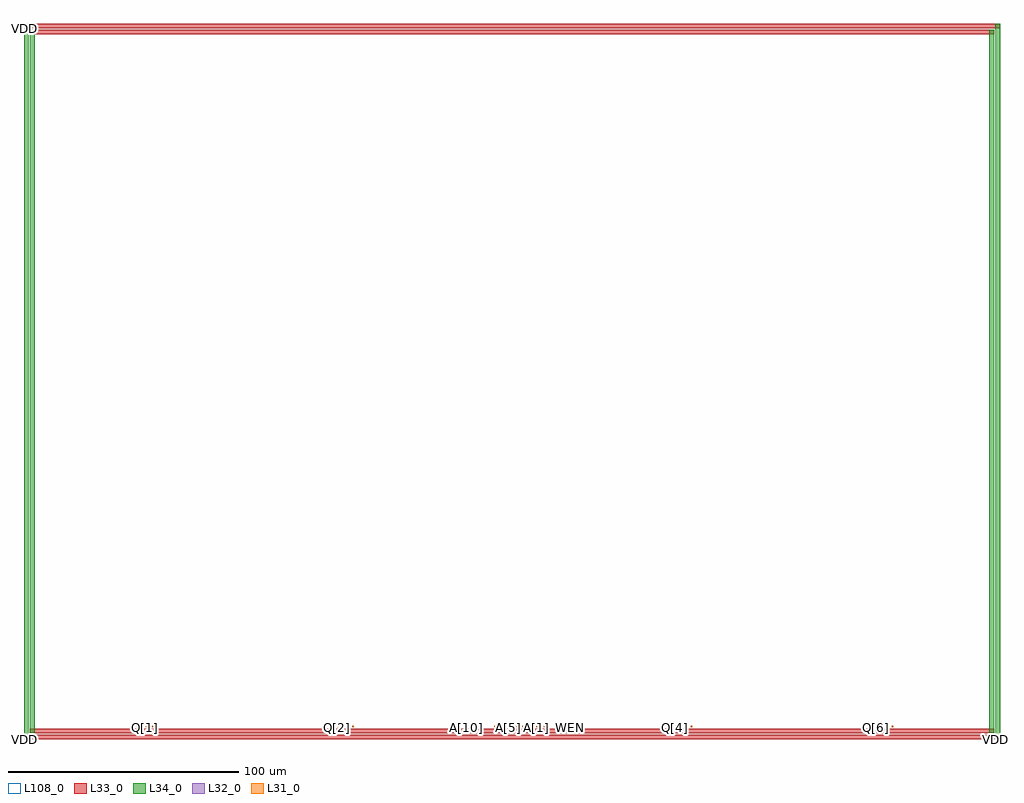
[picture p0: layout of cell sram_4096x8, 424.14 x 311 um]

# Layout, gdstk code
import gdstk
lib = gdstk.Library(unit=1e-6, precision=1e-09)
def R(c, l, rs):  # rectangles x0, y0, x1, y1
    for r in rs: c.add(gdstk.rectangle(r[:2], r[2:], *l))
L31_0 = (31, 0)
L32_0 = (32, 0)
L33_0 = (33, 0)
L34_0 = (34, 0)
L108_0 = (108, 0)

sram_4096x8 = lib.new_cell('sram_4096x8')
R(sram_4096x8, L31_0, [(46.4,5.2,47.06,5.86), (48.98,5.2,49.64,5.86), (52.92,5.2,53.58,5.86), (55.5,5.2,56.16,5.86), (133.64,5.2,134.3,5.86), (136.22,5.2,136.88,5.86), (140.16,5.2,140.82,5.86), (142.74,5.2,143.4,5.86), (185.98,5.2,186.64,5.86), (192.1,5.2,192.76,5.86), (195.2,5.2,195.86,5.86), (198.22,5.2,198.88,5.86), (204.34,5.2,205,5.86), (207.44,5.2,208.1,5.86), (210.46,5.2,211.12,5.86), (213.56,5.2,214.22,5.86), (216.58,5.2,217.24,5.86), (219.68,5.2,220.34,5.86), (222.7,5.2,223.36,5.86), (225.8,5.2,226.46,5.86), (231.615,5.2,232.275,5.86), (237.66,5.2,238.32,5.86), (241.36,5.2,242.02,5.86), (280.745,5.2,281.405,5.86), (283.325,5.2,283.985,5.86), (287.265,5.2,287.925,5.86), (289.845,5.2,290.505,5.86), (367.985,5.2,368.645,5.86), (370.565,5.2,371.225,5.86), (374.505,5.2,375.165,5.86), (377.085,5.2,377.745,5.86)])
R(sram_4096x8, L32_0, [(46.4,5.2,47.06,5.86), (48.98,5.2,49.64,5.86), (52.92,5.2,53.58,5.86), (55.5,5.2,56.16,5.86), (133.64,5.2,134.3,5.86), (136.22,5.2,136.88,5.86), (140.16,5.2,140.82,5.86), (142.74,5.2,143.4,5.86), (185.98,5.2,186.64,5.86), (192.1,5.2,192.76,5.86), (195.2,5.2,195.86,5.86), (198.22,5.2,198.88,5.86), (204.34,5.2,205,5.86), (207.44,5.2,208.1,5.86), (210.46,5.2,211.12,5.86), (213.56,5.2,214.22,5.86), (216.58,5.2,217.24,5.86), (219.68,5.2,220.34,5.86), (222.7,5.2,223.36,5.86), (225.8,5.2,226.46,5.86), (231.615,5.2,232.275,5.86), (237.66,5.2,238.32,5.86), (241.36,5.2,242.02,5.86), (280.745,5.2,281.405,5.86), (283.325,5.2,283.985,5.86), (287.265,5.2,287.925,5.86), (289.845,5.2,290.505,5.86), (367.985,5.2,368.645,5.86), (370.565,5.2,371.225,5.86), (374.505,5.2,375.165,5.86), (377.085,5.2,377.745,5.86)])
R(sram_4096x8, L33_0, [(0,0,424.145,2), (2.6,2.6,421.545,4.6), (46.4,5.2,47.06,5.86), (48.98,5.2,49.64,5.86), (52.92,5.2,53.58,5.86), (55.5,5.2,56.16,5.86), (133.64,5.2,134.3,5.86), (136.22,5.2,136.88,5.86), (140.16,5.2,140.82,5.86), (142.74,5.2,143.4,5.86), (185.98,5.2,186.64,5.86), (192.1,5.2,192.76,5.86), (195.2,5.2,195.86,5.86), (198.22,5.2,198.88,5.86), (204.34,5.2,205,5.86), (207.44,5.2,208.1,5.86), (210.46,5.2,211.12,5.86), (213.56,5.2,214.22,5.86), (216.58,5.2,217.24,5.86), (219.68,5.2,220.34,5.86), (222.7,5.2,223.36,5.86), (225.8,5.2,226.46,5.86), (231.615,5.2,232.275,5.86), (237.66,5.2,238.32,5.86), (241.36,5.2,242.02,5.86), (280.745,5.2,281.405,5.86), (283.325,5.2,283.985,5.86), (287.265,5.2,287.925,5.86), (289.845,5.2,290.505,5.86), (367.985,5.2,368.645,5.86), (370.565,5.2,371.225,5.86), (374.505,5.2,375.165,5.86), (377.085,5.2,377.745,5.86), (2.6,306.395,421.545,308.395), (0,308.995,424.145,310.995)])
R(sram_4096x8, L34_0, [(0,0,2,310.995), (422.145,0,424.145,310.995), (2.6,2.6,4.6,308.395), (419.545,2.6,421.545,308.395), (46.4,5.2,47.06,5.86), (48.98,5.2,49.64,5.86), (52.92,5.2,53.58,5.86), (55.5,5.2,56.16,5.86), (133.64,5.2,134.3,5.86), (136.22,5.2,136.88,5.86), (140.16,5.2,140.82,5.86), (142.74,5.2,143.4,5.86), (185.98,5.2,186.64,5.86), (192.1,5.2,192.76,5.86), (195.2,5.2,195.86,5.86), (198.22,5.2,198.88,5.86), (204.34,5.2,205,5.86), (207.44,5.2,208.1,5.86), (210.46,5.2,211.12,5.86), (213.56,5.2,214.22,5.86), (216.58,5.2,217.24,5.86), (219.68,5.2,220.34,5.86), (222.7,5.2,223.36,5.86), (225.8,5.2,226.46,5.86), (231.615,5.2,232.275,5.86), (237.66,5.2,238.32,5.86), (241.36,5.2,242.02,5.86), (280.745,5.2,281.405,5.86), (283.325,5.2,283.985,5.86), (287.265,5.2,287.925,5.86), (289.845,5.2,290.505,5.86), (367.985,5.2,368.645,5.86), (370.565,5.2,371.225,5.86), (374.505,5.2,375.165,5.86), (377.085,5.2,377.745,5.86)])
R(sram_4096x8, L108_0, [(0,0,424.145,310.995)])
sram_4096x8.add(gdstk.Label('Q[1]', (52.92,5.2), layer=133, texttype=0))
sram_4096x8.add(gdstk.Label('Q[1]', (52.92,5.2), layer=132, texttype=0))
sram_4096x8.add(gdstk.Label('Q[1]', (52.92,5.2), layer=131, texttype=0))
sram_4096x8.add(gdstk.Label('Q[2]', (136.22,5.2), layer=134, texttype=0))
sram_4096x8.add(gdstk.Label('Q[2]', (136.22,5.2), layer=133, texttype=0))
sram_4096x8.add(gdstk.Label('Q[2]', (136.22,5.2), layer=132, texttype=0))
sram_4096x8.add(gdstk.Label('Q[2]', (136.22,5.2), layer=131, texttype=0))
sram_4096x8.add(gdstk.Label('Q[3]', (140.16,5.2), layer=134, texttype=0))
sram_4096x8.add(gdstk.Label('Q[3]', (140.16,5.2), layer=133, texttype=0))
sram_4096x8.add(gdstk.Label('Q[3]', (140.16,5.2), layer=132, texttype=0))
sram_4096x8.add(gdstk.Label('Q[3]', (140.16,5.2), layer=131, texttype=0))
sram_4096x8.add(gdstk.Label('Q[4]', (283.325,5.2), layer=134, texttype=0))
sram_4096x8.add(gdstk.Label('Q[4]', (283.325,5.2), layer=133, texttype=0))
sram_4096x8.add(gdstk.Label('Q[4]', (283.325,5.2), layer=132, texttype=0))
sram_4096x8.add(gdstk.Label('Q[4]', (283.325,5.2), layer=131, texttype=0))
sram_4096x8.add(gdstk.Label('Q[5]', (287.265,5.2), layer=134, texttype=0))
sram_4096x8.add(gdstk.Label('Q[5]', (287.265,5.2), layer=133, texttype=0))
sram_4096x8.add(gdstk.Label('Q[5]', (287.265,5.2), layer=132, texttype=0))
sram_4096x8.add(gdstk.Label('Q[5]', (287.265,5.2), layer=131, texttype=0))
sram_4096x8.add(gdstk.Label('Q[6]', (370.565,5.2), layer=134, texttype=0))
sram_4096x8.add(gdstk.Label('Q[6]', (370.565,5.2), layer=133, texttype=0))
sram_4096x8.add(gdstk.Label('Q[6]', (370.565,5.2), layer=132, texttype=0))
sram_4096x8.add(gdstk.Label('Q[6]', (370.565,5.2), layer=131, texttype=0))
sram_4096x8.add(gdstk.Label('Q[7]', (374.505,5.2), layer=134, texttype=0))
sram_4096x8.add(gdstk.Label('Q[7]', (374.505,5.2), layer=133, texttype=0))
sram_4096x8.add(gdstk.Label('Q[7]', (374.505,5.2), layer=132, texttype=0))
sram_4096x8.add(gdstk.Label('Q[7]', (374.505,5.2), layer=131, texttype=0))
sram_4096x8.add(gdstk.Label('WEN', (237.66,5.2), layer=134, texttype=0))
sram_4096x8.add(gdstk.Label('WEN', (237.66,5.2), layer=133, texttype=0))
sram_4096x8.add(gdstk.Label('WEN', (237.66,5.2), layer=132, texttype=0))
sram_4096x8.add(gdstk.Label('WEN', (237.66,5.2), layer=131, texttype=0))
sram_4096x8.add(gdstk.Label('VDD', (0,0), layer=134, texttype=0))
sram_4096x8.add(gdstk.Label('VDD', (422.145,0), layer=134, texttype=0))
sram_4096x8.add(gdstk.Label('VDD', (0,0), layer=133, texttype=0))
sram_4096x8.add(gdstk.Label('VDD', (0,308.995), layer=133, texttype=0))
sram_4096x8.add(gdstk.Label('VSS', (2.6,2.6), layer=134, texttype=0))
sram_4096x8.add(gdstk.Label('VSS', (419.545,2.6), layer=134, texttype=0))
sram_4096x8.add(gdstk.Label('VSS', (2.6,2.6), layer=133, texttype=0))
sram_4096x8.add(gdstk.Label('VSS', (2.6,306.395), layer=133, texttype=0))
sram_4096x8.add(gdstk.Label('A[0]', (225.8,5.2), layer=134, texttype=0))
sram_4096x8.add(gdstk.Label('A[0]', (225.8,5.2), layer=133, texttype=0))
sram_4096x8.add(gdstk.Label('A[0]', (225.8,5.2), layer=132, texttype=0))
sram_4096x8.add(gdstk.Label('A[0]', (225.8,5.2), layer=131, texttype=0))
sram_4096x8.add(gdstk.Label('A[10]', (192.1,5.2), layer=134, texttype=0))
sram_4096x8.add(gdstk.Label('A[10]', (192.1,5.2), layer=133, texttype=0))
sram_4096x8.add(gdstk.Label('A[10]', (192.1,5.2), layer=132, texttype=0))
sram_4096x8.add(gdstk.Label('A[10]', (192.1,5.2), layer=131, texttype=0))
sram_4096x8.add(gdstk.Label('A[11]', (185.98,5.2), layer=134, texttype=0))
sram_4096x8.add(gdstk.Label('A[11]', (185.98,5.2), layer=133, texttype=0))
sram_4096x8.add(gdstk.Label('A[11]', (185.98,5.2), layer=132, texttype=0))
sram_4096x8.add(gdstk.Label('A[11]', (185.98,5.2), layer=131, texttype=0))
sram_4096x8.add(gdstk.Label('A[1]', (222.7,5.2), layer=134, texttype=0))
sram_4096x8.add(gdstk.Label('A[1]', (222.7,5.2), layer=133, texttype=0))
sram_4096x8.add(gdstk.Label('A[1]', (222.7,5.2), layer=132, texttype=0))
sram_4096x8.add(gdstk.Label('A[1]', (222.7,5.2), layer=131, texttype=0))
sram_4096x8.add(gdstk.Label('A[2]', (219.68,5.2), layer=134, texttype=0))
sram_4096x8.add(gdstk.Label('A[2]', (219.68,5.2), layer=133, texttype=0))
sram_4096x8.add(gdstk.Label('A[2]', (219.68,5.2), layer=132, texttype=0))
sram_4096x8.add(gdstk.Label('A[2]', (219.68,5.2), layer=131, texttype=0))
sram_4096x8.add(gdstk.Label('A[3]', (216.58,5.2), layer=134, texttype=0))
sram_4096x8.add(gdstk.Label('A[3]', (216.58,5.2), layer=133, texttype=0))
sram_4096x8.add(gdstk.Label('A[3]', (216.58,5.2), layer=132, texttype=0))
sram_4096x8.add(gdstk.Label('A[3]', (216.58,5.2), layer=131, texttype=0))
sram_4096x8.add(gdstk.Label('A[4]', (213.56,5.2), layer=134, texttype=0))
sram_4096x8.add(gdstk.Label('A[4]', (213.56,5.2), layer=133, texttype=0))
sram_4096x8.add(gdstk.Label('A[4]', (213.56,5.2), layer=132, texttype=0))
sram_4096x8.add(gdstk.Label('A[4]', (213.56,5.2), layer=131, texttype=0))
sram_4096x8.add(gdstk.Label('A[5]', (210.46,5.2), layer=134, texttype=0))
sram_4096x8.add(gdstk.Label('A[5]', (210.46,5.2), layer=133, texttype=0))
sram_4096x8.add(gdstk.Label('A[5]', (210.46,5.2), layer=132, texttype=0))
sram_4096x8.add(gdstk.Label('A[5]', (210.46,5.2), layer=131, texttype=0))
sram_4096x8.add(gdstk.Label('A[6]', (207.44,5.2), layer=134, texttype=0))
sram_4096x8.add(gdstk.Label('A[6]', (207.44,5.2), layer=133, texttype=0))
sram_4096x8.add(gdstk.Label('A[6]', (207.44,5.2), layer=132, texttype=0))
sram_4096x8.add(gdstk.Label('A[6]', (207.44,5.2), layer=131, texttype=0))
sram_4096x8.add(gdstk.Label('A[7]', (204.34,5.2), layer=134, texttype=0))
sram_4096x8.add(gdstk.Label('A[7]', (204.34,5.2), layer=133, texttype=0))
sram_4096x8.add(gdstk.Label('A[7]', (204.34,5.2), layer=132, texttype=0))
sram_4096x8.add(gdstk.Label('A[7]', (204.34,5.2), layer=131, texttype=0))
sram_4096x8.add(gdstk.Label('A[8]', (198.22,5.2), layer=134, texttype=0))
sram_4096x8.add(gdstk.Label('A[8]', (198.22,5.2), layer=133, texttype=0))
sram_4096x8.add(gdstk.Label('A[8]', (198.22,5.2), layer=132, texttype=0))
sram_4096x8.add(gdstk.Label('A[8]', (198.22,5.2), layer=131, texttype=0))
sram_4096x8.add(gdstk.Label('A[9]', (195.2,5.2), layer=134, texttype=0))
sram_4096x8.add(gdstk.Label('A[9]', (195.2,5.2), layer=133, texttype=0))
sram_4096x8.add(gdstk.Label('A[9]', (195.2,5.2), layer=132, texttype=0))
sram_4096x8.add(gdstk.Label('A[9]', (195.2,5.2), layer=131, texttype=0))
sram_4096x8.add(gdstk.Label('CEN', (231.615,5.2), layer=134, texttype=0))
sram_4096x8.add(gdstk.Label('CEN', (231.615,5.2), layer=133, texttype=0))
sram_4096x8.add(gdstk.Label('CEN', (231.615,5.2), layer=132, texttype=0))
sram_4096x8.add(gdstk.Label('CEN', (231.615,5.2), layer=131, texttype=0))
sram_4096x8.add(gdstk.Label('CLK', (241.36,5.2), layer=134, texttype=0))
sram_4096x8.add(gdstk.Label('CLK', (241.36,5.2), layer=133, texttype=0))
sram_4096x8.add(gdstk.Label('CLK', (241.36,5.2), layer=132, texttype=0))
sram_4096x8.add(gdstk.Label('CLK', (241.36,5.2), layer=131, texttype=0))
sram_4096x8.add(gdstk.Label('D[0]', (46.4,5.2), layer=134, texttype=0))
sram_4096x8.add(gdstk.Label('D[0]', (46.4,5.2), layer=133, texttype=0))
sram_4096x8.add(gdstk.Label('D[0]', (46.4,5.2), layer=132, texttype=0))
sram_4096x8.add(gdstk.Label('D[0]', (46.4,5.2), layer=131, texttype=0))
sram_4096x8.add(gdstk.Label('D[1]', (55.5,5.2), layer=134, texttype=0))
sram_4096x8.add(gdstk.Label('D[1]', (55.5,5.2), layer=133, texttype=0))
sram_4096x8.add(gdstk.Label('D[1]', (55.5,5.2), layer=132, texttype=0))
sram_4096x8.add(gdstk.Label('D[1]', (55.5,5.2), layer=131, texttype=0))
sram_4096x8.add(gdstk.Label('D[2]', (133.64,5.2), layer=134, texttype=0))
sram_4096x8.add(gdstk.Label('D[2]', (133.64,5.2), layer=133, texttype=0))
sram_4096x8.add(gdstk.Label('D[2]', (133.64,5.2), layer=132, texttype=0))
sram_4096x8.add(gdstk.Label('D[2]', (133.64,5.2), layer=131, texttype=0))
sram_4096x8.add(gdstk.Label('D[3]', (142.74,5.2), layer=134, texttype=0))
sram_4096x8.add(gdstk.Label('D[3]', (142.74,5.2), layer=133, texttype=0))
sram_4096x8.add(gdstk.Label('D[3]', (142.74,5.2), layer=132, texttype=0))
sram_4096x8.add(gdstk.Label('D[3]', (142.74,5.2), layer=131, texttype=0))
sram_4096x8.add(gdstk.Label('D[4]', (280.745,5.2), layer=134, texttype=0))
sram_4096x8.add(gdstk.Label('D[4]', (280.745,5.2), layer=133, texttype=0))
sram_4096x8.add(gdstk.Label('D[4]', (280.745,5.2), layer=132, texttype=0))
sram_4096x8.add(gdstk.Label('D[4]', (280.745,5.2), layer=131, texttype=0))
sram_4096x8.add(gdstk.Label('D[5]', (289.845,5.2), layer=134, texttype=0))
sram_4096x8.add(gdstk.Label('D[5]', (289.845,5.2), layer=133, texttype=0))
sram_4096x8.add(gdstk.Label('D[5]', (289.845,5.2), layer=132, texttype=0))
sram_4096x8.add(gdstk.Label('D[5]', (289.845,5.2), layer=131, texttype=0))
sram_4096x8.add(gdstk.Label('D[6]', (367.985,5.2), layer=134, texttype=0))
sram_4096x8.add(gdstk.Label('D[6]', (367.985,5.2), layer=133, texttype=0))
sram_4096x8.add(gdstk.Label('D[6]', (367.985,5.2), layer=132, texttype=0))
sram_4096x8.add(gdstk.Label('D[6]', (367.985,5.2), layer=131, texttype=0))
sram_4096x8.add(gdstk.Label('D[7]', (377.085,5.2), layer=134, texttype=0))
sram_4096x8.add(gdstk.Label('D[7]', (377.085,5.2), layer=133, texttype=0))
sram_4096x8.add(gdstk.Label('D[7]', (377.085,5.2), layer=132, texttype=0))
sram_4096x8.add(gdstk.Label('D[7]', (377.085,5.2), layer=131, texttype=0))
sram_4096x8.add(gdstk.Label('Q[0]', (48.98,5.2), layer=134, texttype=0))
sram_4096x8.add(gdstk.Label('Q[0]', (48.98,5.2), layer=133, texttype=0))
sram_4096x8.add(gdstk.Label('Q[0]', (48.98,5.2), layer=132, texttype=0))
sram_4096x8.add(gdstk.Label('Q[0]', (48.98,5.2), layer=131, texttype=0))
sram_4096x8.add(gdstk.Label('Q[1]', (52.92,5.2), layer=134, texttype=0))

lib.write_gds('sram_4096x8.gds')
